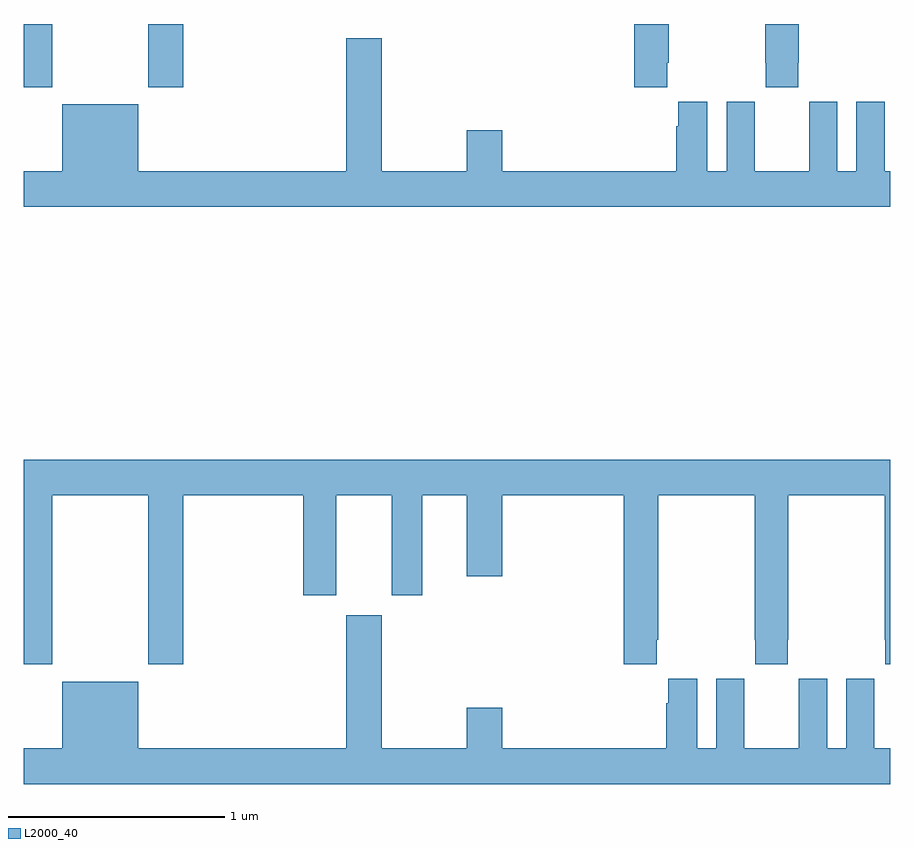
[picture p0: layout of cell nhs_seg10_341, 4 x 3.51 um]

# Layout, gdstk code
import gdstk
lib = gdstk.Library(unit=1e-6, precision=1e-09)
def R(c, l, rs):  # rectangles x0, y0, x1, y1
    for r in rs: c.add(gdstk.rectangle(r[:2], r[2:], *l))
def P(c, l, *ps):  # polygons
    for p in ps: c.add(gdstk.Polygon(p, *l))
L2000_40 = (2000, 40)

nhs_seg10_341 = lib.new_cell('nhs_seg10_341')
R(nhs_seg10_341, L2000_40, [(127,1294.209,127.131,1294.5), (127.576,1294.209,127.736,1294.5)])
P(nhs_seg10_341, L2000_40, [(130.575,1294.321),(130.578,1294.321),(130.578,1294.5),(130.423,1294.5),(130.423,1294.321),(130.425,1294.321),(130.425,1294.209),(130.575,1294.209)],
  [(129.971,1294.321),(129.977,1294.321),(129.977,1294.5),(129.818,1294.5),(129.818,1294.209),(129.971,1294.209)],
  [(131,1293.82),(130.975,1293.82),(130.975,1294.028),(130.974,1294.028),(130.974,1294.141),(130.844,1294.141),(130.844,1293.82),(130.756,1293.82),(130.756,1294.141),(130.626,1294.141),(130.626,1294.028),(130.625,1294.028),(130.625,1293.82),(130.375,1293.82),(130.375,1294.028),(130.374,1294.028),(130.374,1294.141),(130.244,1294.141),(130.244,1293.82),(130.156,1293.82),(130.156,1294.141),(130.022,1294.141),(130.022,1294.028),(130.013,1294.028),(130.013,1293.82),(129.208,1293.82),(129.208,1294.009),(129.044,1294.009),(129.044,1293.82),(128.653,1293.82),(128.653,1294.435),(128.489,1294.435),(128.489,1293.82),(127.528,1293.82),(127.528,1294.129),(127.178,1294.129),(127.178,1293.82),(127,1293.82),(127,1293.656),(131,1293.656)],
  [(127.131,1292.324),(127.576,1292.324),(127.576,1291.545),(127.736,1291.545),(127.736,1292.324),(128.291,1292.324),(128.291,1291.863),(128.443,1291.863),(128.443,1292.324),(128.699,1292.324),(128.699,1291.863),(128.839,1291.863),(128.839,1292.324),(129.044,1292.324),(129.044,1291.95),(129.208,1291.95),(129.208,1292.324),(129.77,1292.324),(129.77,1291.545),(129.923,1291.545),(129.923,1291.657),(129.93,1291.657),(129.93,1292.324),(130.375,1292.324),(130.375,1291.657),(130.377,1291.657),(130.377,1291.545),(130.527,1291.545),(130.527,1291.657),(130.53,1291.657),(130.53,1292.324),(130.975,1292.324),(130.975,1291.657),(130.977,1291.657),(130.977,1291.545),(131,1291.545),(131,1292.488),(127,1292.488),(127,1291.545),(127.131,1291.545)],
  [(131,1291.156),(130.927,1291.156),(130.927,1291.364),(130.926,1291.364),(130.926,1291.477),(130.796,1291.477),(130.796,1291.156),(130.708,1291.156),(130.708,1291.477),(130.578,1291.477),(130.578,1291.364),(130.577,1291.364),(130.577,1291.156),(130.327,1291.156),(130.327,1291.364),(130.326,1291.364),(130.326,1291.477),(130.196,1291.477),(130.196,1291.156),(130.108,1291.156),(130.108,1291.477),(129.974,1291.477),(129.974,1291.364),(129.965,1291.364),(129.965,1291.156),(129.208,1291.156),(129.208,1291.345),(129.044,1291.345),(129.044,1291.156),(128.653,1291.156),(128.653,1291.771),(128.489,1291.771),(128.489,1291.156),(127.528,1291.156),(127.528,1291.465),(127.178,1291.465),(127.178,1291.156),(127,1291.156),(127,1290.992),(131,1290.992)])

lib.write_gds('nhs_seg10_341.gds')
